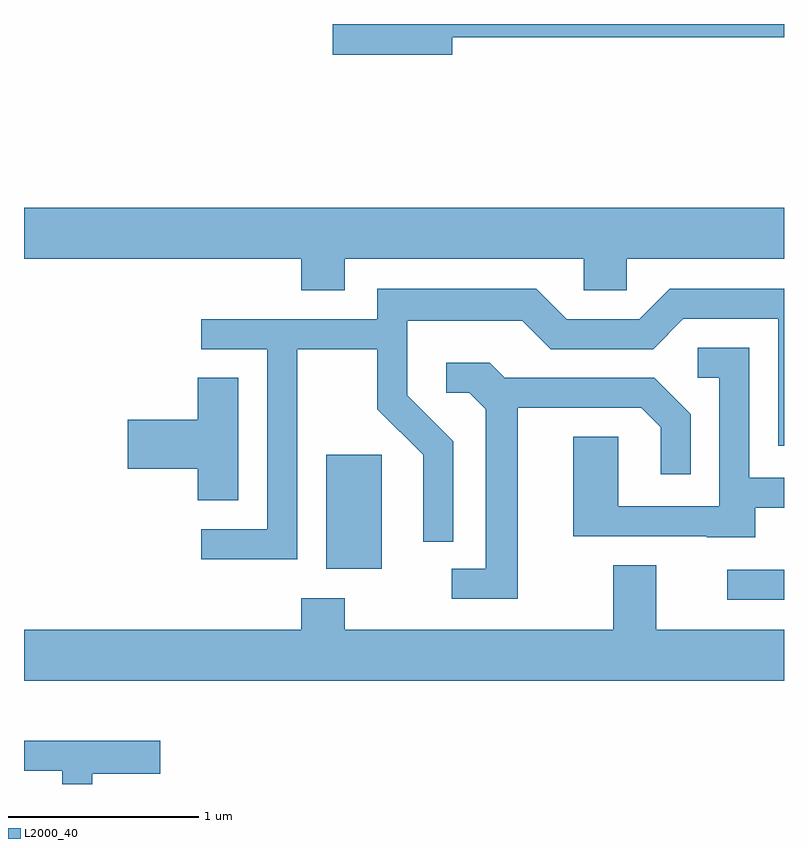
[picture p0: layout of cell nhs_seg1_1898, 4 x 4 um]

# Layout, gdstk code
import gdstk
lib = gdstk.Library(unit=1e-6, precision=1e-09)
def R(c, l, rs):  # rectangles x0, y0, x1, y1
    for r in rs: c.add(gdstk.rectangle(r[:2], r[2:], *l))
def P(c, l, *ps):  # polygons
    for p in ps: c.add(gdstk.Polygon(p, *l))
L2000_40 = (2000, 40)

nhs_seg1_1898 = lib.new_cell('nhs_seg1_1898')
R(nhs_seg1_1898, L2000_40, [(247.313,886.681,247.611,886.839), (245.201,886.846,245.494,887.444)])
P(nhs_seg1_1898, L2000_40, [(245.864,889.641),(247.611,889.641),(247.611,889.712),(245.236,889.712),(245.236,889.551),(245.864,889.551)],
  [(245.299,888.476),(246.556,888.476),(246.556,888.311),(246.784,888.311),(246.784,888.476),(247.611,888.476),(247.611,888.744),(243.611,888.744),(243.611,888.476),(245.071,888.476),(245.071,888.311),(245.299,888.311)],
  [(245.049,888.001),(245.471,888.001),(245.471,887.684),(245.711,887.444),(245.711,886.988),(245.869,886.988),(245.869,887.517),(245.629,887.757),(245.629,888.151),(246.234,888.151),(246.384,888.001),(246.922,888.001),(247.082,888.161),(247.581,888.161),(247.581,887.491),(247.611,887.491),(247.611,888.319),(247.009,888.319),(246.849,888.159),(246.467,888.159),(246.307,888.319),(245.471,888.319),(245.471,888.159),(244.543,888.159),(244.543,888.001),(244.891,888.001),(244.891,887.054),(244.543,887.054),(244.543,886.896),(245.049,886.896)],
  [(247.459,887.166),(247.611,887.166),(247.611,887.324),(247.429,887.324),(247.429,888.009),(247.158,888.009),(247.158,887.851),(247.271,887.851),(247.271,887.174),(246.739,887.174),(246.739,887.539),(246.501,887.539),(246.501,887.016),(247.205,887.016),(247.205,887.011),(247.459,887.011)],
  [(246.209,887.691),(246.859,887.691),(246.961,887.589),(246.961,887.343),(247.119,887.343),(247.119,887.657),(246.927,887.849),(246.142,887.849),(246.062,887.929),(245.833,887.929),(245.833,887.771),(245.954,887.771),(246.041,887.684),(246.041,886.844),(245.863,886.844),(245.863,886.686),(246.209,886.686)],
  [(244.739,887.849),(244.526,887.849),(244.526,887.629),(244.156,887.629),(244.156,887.371),(244.526,887.371),(244.526,887.206),(244.739,887.206)],
  [(246.711,886.864),(246.711,886.524),(245.299,886.524),(245.299,886.689),(245.071,886.689),(245.071,886.524),(243.611,886.524),(243.611,886.256),(247.611,886.256),(247.611,886.524),(246.939,886.524),(246.939,886.864)],
  [(243.969,885.766),(244.329,885.766),(244.329,885.939),(243.611,885.939),(243.611,885.781),(243.811,885.781),(243.811,885.712),(243.969,885.712)])

lib.write_gds('nhs_seg1_1898.gds')
